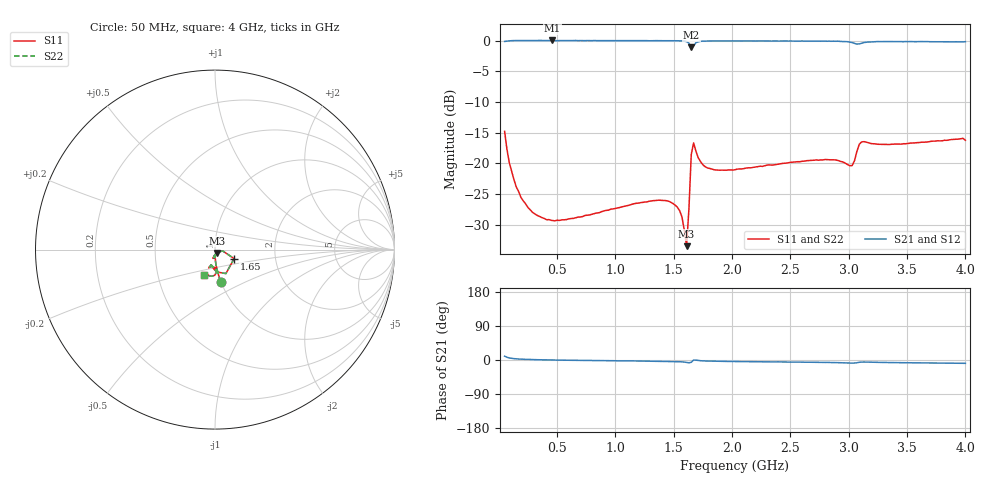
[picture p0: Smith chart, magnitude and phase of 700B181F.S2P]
!  American Technical Ceramics  Date:  3/13/98
!  One Norden Lane
!  Huntington Station,  NY.  11746-2102
!  Tel:  (516) 547-5700  Fax:  (516) 547-5748
!  Part Number  700B181F
!  Description: Porcelain, High Q, Low ESR
!  Application: Bypass, Coupling, Timing, Feedback
!  Tuning, Impedance Match, Blocking
# GHZ S DB R 50
! Freq  |S11|  S11 Ph  |S21|  S21 Ph  |S12|  S12 Ph  |S22|  S22 Ph
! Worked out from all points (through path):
!   201 points, 50 MHz to 4 GHz, reference 50 ohm
!   highest |S21| = 0.01 dB at 460 MHz (marker M1); lowest = -1.1 dB at 1.65 GHz (marker M2)
!   group delay of S21, straight-line fit = 7.25 ps
!   lowest |S11| = -33.5 dB at 1.61 GHz (marker M3), VSWR 1.04, Z = 51 - j1.87 ohm
!   |S11| at or under -10 dB: start of sweep to end of sweep
!   |S22| runs from -33.5 to -14.8 dB; largest |S21 - S12| = 0
!   S11 on the Smith chart (normalised r, x): 50 MHz: 1.00, -0.37; 1.65 GHz: 1.23, -0.13; 4 GHz: 0.85, -0.25
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0.05  -14.78 -80.2  -0.15 10.2  -0.15 10.2  -14.78 -80.2
0.09  -19.87 -84.7  -0.05 5.5  -0.05 5.5  -19.87 -84.7
0.19  -25.54 -87.3  -0.01 2.4  -0.01 2.4  -25.54 -87.3
0.29  -27.99 -90.1  0.00 1.2  0.00 1.2  -27.99 -90.1
0.46  -29.30 -91.2  0.01 0.0  0.01 0.0  -29.30 -91.2
0.72  -28.65 -94.8  -0.02 -1.2  -0.02 -1.2  -28.65 -94.8
1.37  -25.99 -101.6  -0.03 -3.2  -0.03 -3.2  -25.99 -101.6
1.47  -26.28 -102.6  -0.04 -3.7  -0.04 -3.7  -26.28 -102.6
1.55  -27.68 -101.2  -0.05 -4.5  -0.05 -4.5  -27.68 -101.2
1.57  -28.70 -98.8  -0.06 -4.9  -0.06 -4.9  -28.70 -98.8
1.61  -33.48 -60.1  -0.17 -6.4  -0.17 -6.4  -33.48 -60.1
1.63  -27.44 -9.3  -0.43 -7.3  -0.43 -7.3  -27.44 -9.3
1.65  -18.58 -25.2  -1.10 -6.1  -1.10 -6.1  -18.58 -25.2
1.67  -16.67 -65.5  -0.87 -0.1  -0.87 -0.1  -16.67 -65.5
1.71  -19.10 -92.2  -0.21 -1.2  -0.21 -1.2  -19.10 -92.2
1.77  -20.56 -99.5  -0.09 -2.5  -0.09 -2.5  -20.56 -99.5
2.03  -21.02 -104.2  -0.06 -3.9  -0.06 -3.9  -21.02 -104.2
2.7  -19.49 -108.4  -0.10 -6.0  -0.10 -6.0  -19.49 -108.4
3.03  -20.34 -94.9  -0.34 -8.2  -0.34 -8.2  -20.34 -94.9
3.11  -16.51 -96.5  -0.45 -5.5  -0.45 -5.5  -16.51 -96.5
3.35  -16.93 -108.9  -0.18 -6.7  -0.18 -6.7  -16.93 -108.9
4  -16.24 -112.7  -0.19 -8.8  -0.19 -8.8  -16.24 -112.7
